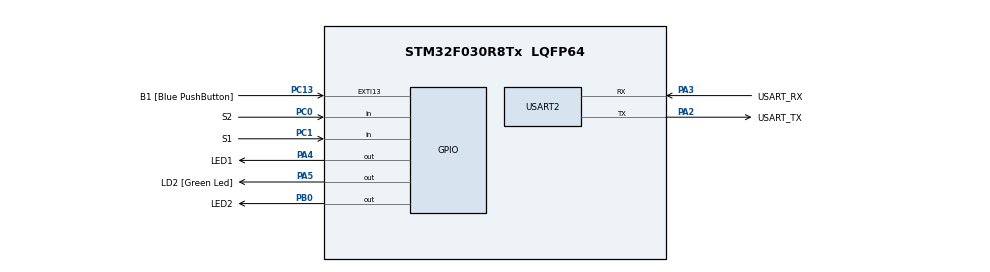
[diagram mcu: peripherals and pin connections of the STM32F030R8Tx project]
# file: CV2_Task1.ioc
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Mcu.Family=STM32F0
Mcu.Name=STM32F030R8Tx
Mcu.Package=LQFP64
PA13.GPIO_Label=TMS
PA13.Mode=Serial_Wire
PA13.Signal=SYS_SWDIO
PA14.GPIO_Label=TCK
PA14.Mode=Serial_Wire
PA14.Signal=SYS_SWCLK
PA2.GPIO_Label=USART_TX
PA2.GPIO_Mode=GPIO_MODE_AF_PP
PA2.GPIO_PuPd=GPIO_NOPULL
PA2.GPIO_Speed=GPIO_SPEED_FREQ_LOW
PA2.Mode=Asynchronous
PA2.Signal=USART2_TX
PA3.GPIO_Label=USART_RX
PA3.GPIO_Mode=GPIO_MODE_AF_PP
PA3.GPIO_PuPd=GPIO_NOPULL
PA3.GPIO_Speed=GPIO_SPEED_FREQ_LOW
PA3.Mode=Asynchronous
PA3.Signal=USART2_RX
PA4.GPIO_Label=LED1
PA4.Signal=GPIO_Output
PA5.GPIO_Label=LD2 [Green Led]
PA5.GPIO_Mode=GPIO_MODE_OUTPUT_PP
PA5.GPIO_PuPd=GPIO_NOPULL
PA5.GPIO_Speed=GPIO_SPEED_FREQ_LOW
PA5.Signal=GPIO_Output
PB0.GPIO_Label=LED2
PB0.Signal=GPIO_Output
PC0.GPIO_Label=S2
PC0.GPIO_PuPd=GPIO_PULLUP
PC0.Signal=GPIO_Input
PC1.GPIO_Label=S1
PC1.GPIO_PuPd=GPIO_PULLUP
PC1.Signal=GPIO_Input
PC13.GPIO_Label=B1 [Blue PushButton]
PC13.GPIO_ModeDefaultEXTI=GPIO_MODE_IT_FALLING
PC13.Signal=GPXTI13
PC14-OSC32_IN.Mode=LSE-External-Oscillator
PC14-OSC32_IN.Signal=RCC_OSC32_IN
PC15-OSC32_OUT.Mode=LSE-External-Oscillator
PC15-OSC32_OUT.Signal=RCC_OSC32_OUT
PF0-OSC_IN.Mode=HSE-External-Clock-Source
PF0-OSC_IN.Signal=RCC_OSC_IN
PF1-OSC_OUT.Signal=RCC_OSC_OUT
ProjectManager.HeapSize=0x200
ProjectManager.StackSize=0x400
ProjectManager.TargetToolchain=STM32CubeIDE
RCC.AHBFreq_Value=48000000
RCC.APB1Freq_Value=48000000
RCC.APB1TimFreq_Value=48000000
RCC.HCLKFreq_Value=48000000
RCC.PLLMUL=RCC_PLL_MUL12
RCC.SYSCLKFreq_VALUE=48000000
RCC.SYSCLKSource=RCC_SYSCLKSOURCE_PLLCLK
USART2.VirtualMode-Asynchronous=VM_ASYNC
board=NUCLEO-F030R8

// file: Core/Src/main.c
/* USER CODE BEGIN Header */
/**
  ******************************************************************************
  * @file           : main.c
  * @brief          : Main program body
  ******************************************************************************
  * @attention
  *
  * Copyright (c) 2023 STMicroelectronics.
  * All rights reserved.
  *
  * This software is licensed under terms that can be found in the LICENSE file
  * in the root directory of this software component.
  * If no LICENSE file comes with this software, it is provided AS-IS.
  *
  ******************************************************************************
  */
/* USER CODE END Header */
#include "main.h"

/* USER CODE BEGIN PTD */
#define LED_TIME_BLINK 300
#define LED_TIME_SHORT 100
#define LED_TIME_LONG 1000
#define TIME_SAMPLING 5

/* USER CODE END PTD */

void SystemClock_Config(void);
static void MX_GPIO_Init(void);
static void MX_USART2_UART_Init(void);

/* USER CODE BEGIN 0 */
volatile uint32_t Tick;
static uint32_t off_time;

void blikac(void) {
	static uint32_t delay;

	if (Tick > delay + LED_TIME_BLINK) {
		LL_GPIO_TogglePin(LED1_GPIO_Port, LED1_Pin);
		delay = Tick;
	}
}

void tlacitka(void) {

	static uint32_t delay_temp;
	if (Tick > delay_temp + TIME_SAMPLING) {
		delay_temp = Tick;

		static uint16_t debounce_s1 = 0xFFFF;
		uint32_t s1 = LL_GPIO_IsInputPinSet(S1_GPIO_Port, S1_Pin);
		debounce_s1 <<= 1;
		if (s1) {
			debounce_s1 |= 0x0001;
			if (debounce_s1 == 0x7FFF) {
				off_time = Tick + LED_TIME_LONG;
				LL_GPIO_SetOutputPin(LED2_GPIO_Port, LED2_Pin);
			}
		}

		static uint16_t debounce_s2 = 0xFFFF;
		uint32_t s2 = LL_GPIO_IsInputPinSet(S2_GPIO_Port, S2_Pin);
		debounce_s2 <<= 1;
		if (s2) {
			debounce_s2 |= 0x0001;
			if (debounce_s2 == 0x7FFF) {
				off_time = Tick + LED_TIME_SHORT;
				LL_GPIO_SetOutputPin(LED2_GPIO_Port, LED2_Pin);
			}
		}
	}
}

/* USER CODE END 0 */

int main(void)
{

  /* MCU Configuration--------------------------------------------------------*/

  /* Reset of all peripherals, Initializes the Flash interface and the Systick. */
  LL_APB1_GRP2_EnableClock(LL_APB1_GRP2_PERIPH_SYSCFG);
  LL_APB1_GRP1_EnableClock(LL_APB1_GRP1_PERIPH_PWR);

  /* Configure the system clock */
  SystemClock_Config();

  /* Initialize all configured peripherals */
  MX_GPIO_Init();
  MX_USART2_UART_Init();
  /* USER CODE BEGIN 2 */
  LL_SYSTICK_EnableIT();
  /* USER CODE END 2 */

  /* Infinite loop */
  /* USER CODE BEGIN WHILE */
	while (1) {
		blikac();
		tlacitka();
		if (Tick > off_time) {
			LL_GPIO_ResetOutputPin(LED2_GPIO_Port, LED2_Pin);
		}

    /* USER CODE END WHILE */

  }
}

void SystemClock_Config(void)
{
  LL_FLASH_SetLatency(LL_FLASH_LATENCY_1);
  while(LL_FLASH_GetLatency() != LL_FLASH_LATENCY_1)
  {
  }
  LL_RCC_HSI_Enable();

   /* Wait till HSI is ready */
  while(LL_RCC_HSI_IsReady() != 1)
  {

  }
  LL_RCC_HSI_SetCalibTrimming(16);
  LL_RCC_PLL_ConfigDomain_SYS(LL_RCC_PLLSOURCE_HSI_DIV_2, LL_RCC_PLL_MUL_12);
  LL_RCC_PLL_Enable();

   /* Wait till PLL is ready */
  while(LL_RCC_PLL_IsReady() != 1)
  {

  }
  LL_RCC_SetAHBPrescaler(LL_RCC_SYSCLK_DIV_1);
  LL_RCC_SetAPB1Prescaler(LL_RCC_APB1_DIV_1);
  LL_RCC_SetSysClkSource(LL_RCC_SYS_CLKSOURCE_PLL);

   /* Wait till System clock is ready */
  while(LL_RCC_GetSysClkSource() != LL_RCC_SYS_CLKSOURCE_STATUS_PLL)
  {

  }
  LL_Init1msTick(48000000);
  LL_SetSystemCoreClock(48000000);
}

static void MX_USART2_UART_Init(void)
{

  LL_USART_InitTypeDef USART_InitStruct = {0};

  LL_GPIO_InitTypeDef GPIO_InitStruct = {0};

  /* Peripheral clock enable */
  LL_APB1_GRP1_EnableClock(LL_APB1_GRP1_PERIPH_USART2);

  LL_AHB1_GRP1_EnableClock(LL_AHB1_GRP1_PERIPH_GPIOA);
  /**USART2 GPIO Configuration
  PA2   ------> USART2_TX
  PA3   ------> USART2_RX
  */
  GPIO_InitStruct.Pin = USART_TX_Pin;
  GPIO_InitStruct.Mode = LL_GPIO_MODE_ALTERNATE;
  GPIO_InitStruct.Speed = LL_GPIO_SPEED_FREQ_LOW;
  GPIO_InitStruct.OutputType = LL_GPIO_OUTPUT_PUSHPULL;
  GPIO_InitStruct.Pull = LL_GPIO_PULL_NO;
  GPIO_InitStruct.Alternate = LL_GPIO_AF_1;
  LL_GPIO_Init(USART_TX_GPIO_Port, &GPIO_InitStruct);

  GPIO_InitStruct.Pin = USART_RX_Pin;
  GPIO_InitStruct.Mode = LL_GPIO_MODE_ALTERNATE;
  GPIO_InitStruct.Speed = LL_GPIO_SPEED_FREQ_LOW;
  GPIO_InitStruct.OutputType = LL_GPIO_OUTPUT_PUSHPULL;
  GPIO_InitStruct.Pull = LL_GPIO_PULL_NO;
  GPIO_InitStruct.Alternate = LL_GPIO_AF_1;
  LL_GPIO_Init(USART_RX_GPIO_Port, &GPIO_InitStruct);

  USART_InitStruct.BaudRate = 38400;
  USART_InitStruct.DataWidth = LL_USART_DATAWIDTH_8B;
  USART_InitStruct.StopBits = LL_USART_STOPBITS_1;
  USART_InitStruct.Parity = LL_USART_PARITY_NONE;
  USART_InitStruct.TransferDirection = LL_USART_DIRECTION_TX_RX;
  USART_InitStruct.HardwareFlowControl = LL_USART_HWCONTROL_NONE;
  USART_InitStruct.OverSampling = LL_USART_OVERSAMPLING_16;
  LL_USART_Init(USART2, &USART_InitStruct);
  LL_USART_DisableIT_CTS(USART2);
  LL_USART_ConfigAsyncMode(USART2);
  LL_USART_Enable(USART2);

}

static void MX_GPIO_Init(void)
{
  LL_EXTI_InitTypeDef EXTI_InitStruct = {0};
  LL_GPIO_InitTypeDef GPIO_InitStruct = {0};

  /* GPIO Ports Clock Enable */
  LL_AHB1_GRP1_EnableClock(LL_AHB1_GRP1_PERIPH_GPIOC);
  LL_AHB1_GRP1_EnableClock(LL_AHB1_GRP1_PERIPH_GPIOF);
  LL_AHB1_GRP1_EnableClock(LL_AHB1_GRP1_PERIPH_GPIOA);
  LL_AHB1_GRP1_EnableClock(LL_AHB1_GRP1_PERIPH_GPIOB);

  /**/
  LL_GPIO_ResetOutputPin(LED1_GPIO_Port, LED1_Pin);

  /**/
  LL_GPIO_ResetOutputPin(LD2_GPIO_Port, LD2_Pin);

  /**/
  LL_GPIO_ResetOutputPin(LED2_GPIO_Port, LED2_Pin);

  /**/
  LL_SYSCFG_SetEXTISource(LL_SYSCFG_EXTI_PORTC, LL_SYSCFG_EXTI_LINE13);

  /**/
  LL_GPIO_SetPinPull(B1_GPIO_Port, B1_Pin, LL_GPIO_PULL_NO);

  /**/
  LL_GPIO_SetPinMode(B1_GPIO_Port, B1_Pin, LL_GPIO_MODE_INPUT);

  /**/
  EXTI_InitStruct.Line_0_31 = LL_EXTI_LINE_13;
  EXTI_InitStruct.LineCommand = ENABLE;
  EXTI_InitStruct.Mode = LL_EXTI_MODE_IT;
  EXTI_InitStruct.Trigger = LL_EXTI_TRIGGER_FALLING;
  LL_EXTI_Init(&EXTI_InitStruct);

  /**/
  GPIO_InitStruct.Pin = S2_Pin;
  GPIO_InitStruct.Mode = LL_GPIO_MODE_INPUT;
  GPIO_InitStruct.Pull = LL_GPIO_PULL_UP;
  LL_GPIO_Init(S2_GPIO_Port, &GPIO_InitStruct);

  /**/
  GPIO_InitStruct.Pin = S1_Pin;
  GPIO_InitStruct.Mode = LL_GPIO_MODE_INPUT;
  GPIO_InitStruct.Pull = LL_GPIO_PULL_UP;
  LL_GPIO_Init(S1_GPIO_Port, &GPIO_InitStruct);

  /**/
  GPIO_InitStruct.Pin = LED1_Pin;
  GPIO_InitStruct.Mode = LL_GPIO_MODE_OUTPUT;
  GPIO_InitStruct.Speed = LL_GPIO_SPEED_FREQ_LOW;
  GPIO_InitStruct.OutputType = LL_GPIO_OUTPUT_PUSHPULL;
  GPIO_InitStruct.Pull = LL_GPIO_PULL_NO;
  LL_GPIO_Init(LED1_GPIO_Port, &GPIO_InitStruct);

  /**/
  GPIO_InitStruct.Pin = LD2_Pin;
  GPIO_InitStruct.Mode = LL_GPIO_MODE_OUTPUT;
  GPIO_InitStruct.Speed = LL_GPIO_SPEED_FREQ_LOW;
  GPIO_InitStruct.OutputType = LL_GPIO_OUTPUT_PUSHPULL;
  GPIO_InitStruct.Pull = LL_GPIO_PULL_NO;
  LL_GPIO_Init(LD2_GPIO_Port, &GPIO_InitStruct);

  /**/
  GPIO_InitStruct.Pin = LED2_Pin;
  GPIO_InitStruct.Mode = LL_GPIO_MODE_OUTPUT;
  GPIO_InitStruct.Speed = LL_GPIO_SPEED_FREQ_LOW;
  GPIO_InitStruct.OutputType = LL_GPIO_OUTPUT_PUSHPULL;
  GPIO_InitStruct.Pull = LL_GPIO_PULL_NO;
  LL_GPIO_Init(LED2_GPIO_Port, &GPIO_InitStruct);

}

void Error_Handler(void)
{
  __disable_irq();
  while (1)
  {
  }
}
